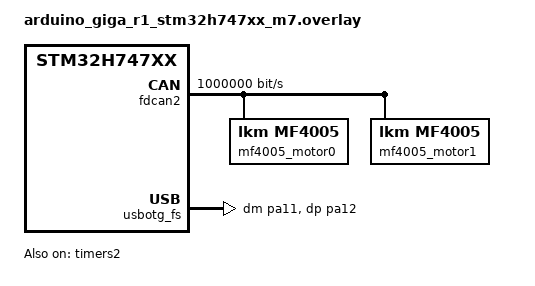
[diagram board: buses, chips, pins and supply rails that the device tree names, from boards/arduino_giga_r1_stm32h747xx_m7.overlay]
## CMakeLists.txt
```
cmake_minimum_required(VERSION 3.13.1)
find_package(Zephyr REQUIRED HINTS $ENV{ZEPHYR_BASE})
project(zephyr_motor_controller)

target_sources(app PRIVATE src/main.c)
target_sources(app PRIVATE src/motor_control_pipeline.c)
target_sources(app PRIVATE src/adrc_control_law.c)
target_sources(app PRIVATE src/pid_control_law.c)
```

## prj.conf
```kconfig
CONFIG_PRINTK=y
CONFIG_SERIAL=y
CONFIG_CBPRINTF_FP_SUPPORT=y

CONFIG_SHELL=y
CONFIG_SHELL_HISTORY=y
CONFIG_SHELL_VT100_COLORS=y
CONFIG_COUNTER=y

CONFIG_SYSTEM_WORKQUEUE_STACK_SIZE=8192
CONFIG_SYSTEM_WORKQUEUE_PRIORITY=-4

CONFIG_CAN=y
CONFIG_LKMOTOR_MF4005_DRIVER=y
CONFIG_MF4005_DRIVER_SHELL=y
CONFIG_KERNEL_BIN_NAME="motor_control_playground"
```

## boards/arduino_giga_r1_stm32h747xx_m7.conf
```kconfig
# Copyright (c) 2024 Felipe Neves
# SPDX-License-Identifier: Apache-2.0

CONFIG_USB_DEVICE_STACK=y
CONFIG_USB_DEVICE_INITIALIZE_AT_BOOT=y
CONFIG_USB_WORKQUEUE_STACK_SIZE=16384
CONFIG_MAIN_STACK_SIZE=8912
```

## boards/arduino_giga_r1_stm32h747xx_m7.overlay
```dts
/*
 * Copyright (c) 2024 Felipe Neves
 *
 * SPDX-License-Identifier: Apache-2.0
 */

/ {
	chosen {
		zephyr,console = &cdc_acm_uart0;
		zephyr,shell-uart = &cdc_acm_uart0;
		zephyr,cdc-acm-uart0 = &cdc_acm_uart0;
	};
};

&fdcan2 {
	bus-speed = <1000000>;
	status = "okay";

	#address-cells = <1>;
	#size-cells = <0>;	
	mf4005_motor0: mf4005_motor@141 {
		compatible = "lkm,mf4005";
		reg = <0x141>;
		max-current-ma = <240>;
		encoder-resolution-bits = <16>;
		max-speed-dps = <12000>;
		status = "okay";
	};

	mf4005_motor1: mf4005_motor@142 {
		compatible = "lkm,mf4005";
		reg = <0x142>;
		max-current-ma = <240>;
		encoder-resolution-bits = <16>;
		max-speed-dps = <12000>;
		status = "okay";
	};
};

zephyr_udc0: &usbotg_fs {
	pinctrl-0 = <&usb_otg_fs_dm_pa11 &usb_otg_fs_dp_pa12>;
	pinctrl-names = "default";
	status = "okay";

	cdc_acm_uart0: cdc_acm_uart0 {
		compatible = "zephyr,cdc-acm-uart";
	};
};

&cdc_acm_uart0 {
	status = "okay";
};

&timers2 {
	st,prescaler = <1>;
	status = "okay";

	counter {
		status = "okay";
	};
};
```

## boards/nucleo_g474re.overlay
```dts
/*
 * Copyright (c) 2024 Felipe Neves
 *
 * SPDX-License-Identifier: Apache-2.0
 */

&fdcan1 {
	pinctrl-0 = <&fdcan1_rx_pa11 &fdcan1_tx_pa12>;
	pinctrl-names = "default";
	status = "okay";
	bus-speed = <1000000>;

	#address-cells = <1>;
	#size-cells = <0>;	
	mf4005_motor0: mf4005_motor@141 {
		compatible = "lkm,mf4005";
		reg = <0x141>;
		max-current-ma = <240>;
		encoder-resolution-bits = <16>;
		max-speed-dps = <12000>;
		status = "okay";
	};

	mf4005_motor1: mf4005_motor@142 {
		compatible = "lkm,mf4005";
		reg = <0x142>;
		max-current-ma = <240>;
		encoder-resolution-bits = <16>;
		max-speed-dps = <12000>;
		status = "okay";
	};
};

&timers2 {
	st,prescaler = <1>;
	status = "okay";

	counter {
		status = "okay";
	};
};
```

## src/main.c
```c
/*
 * Copyright (c) 2024 Felipe Neves
 *
 * SPDX-License-Identifier: Apache-2.0
 */
#include <zephyr/kernel.h>
#include <zephyr/device.h>
#include <zephyr/shell/shell.h>
#include <stdlib.h>

#include "control_law.h"
#include "adrc_control_law.h"
#include "pid_control_law.h"
#include "motor_control_pipeline.h"

static const struct device * motor_1 = DEVICE_DT_GET(DT_NODELABEL(mf4005_motor0));
static struct motor_control_pipeline control_1;
static struct adrc_control_law motor_adrc_1;
static struct pid_control_law motor_pid_1;

int main(void)
{
	pid_control_law_tune(&motor_pid_1, 1.0f, 0.0f, 0.0f, 36000);
	adrc_control_law_tune(&motor_adrc_1, 0.0005f, 300.0f, 1.0f, 10.0f, 0.001f);
	motor_control_pipeline_add_hw(&control_1, motor_1);
	motor_control_pipeline_add_control(&control_1, get_adrc_control_law_interface(&motor_adrc_1));
	motor_control_pipeline_register(&control_1, 1);
	motor_control_pipeline_set_position(&control_1, 90);

	return 0;
}

static int motor_set_ref(const struct shell *shell, size_t argc, char **argv)
{
	if (argc != 2) {
		return -EINVAL;
	}

	return motor_control_pipeline_set_position(&control_1, (strtof(argv[1], NULL)));
}

static int motor_gen_ramp(const struct shell *shell, size_t argc, char **argv)
{
	if (argc != 3) {
		return -EINVAL;
	}

	float start = strtof(argv[1], NULL);
	float end = strtof(argv[2], NULL);
	float current = start;
	float steps = (end - start) / 16.0f;

	for(; current < end; current += steps) {
		motor_control_pipeline_set_position(&control_1, current);
		k_sleep(K_MSEC(250));
	}

	return 0;

}

static int motor_change_control(const struct shell *shell, size_t argc, char **argv)
{
	if (argc != 2) {
		return -EINVAL;
	}

	long option = strtol(argv[1], NULL, 10);

	if(!option) {
		motor_control_pipeline_add_control(&control_1, get_pid_control_law_interface(&motor_pid_1));
	} else {
		motor_control_pipeline_add_control(&control_1, get_adrc_control_law_interface(&motor_adrc_1));
	}

	return 0;
}

static int motor_set_gains_pid(const struct shell *shell, size_t argc, char **argv)
{
	if (argc != 5) {
		return -EINVAL;
	}

	pid_control_law_tune(&motor_pid_1,
						(strtof(argv[1], NULL)),
						(strtof(argv[2], NULL)),
						(strtof(argv[3], NULL)),
						(strtof(argv[4], NULL)));

	return 0;

}

static int motor_set_gains_adrc(const struct shell *shell, size_t argc, char **argv)
{
	if (argc != 6) {
		return -EINVAL;
	}

	adrc_control_law_tune(&motor_adrc_1,
						(strtof(argv[1], NULL)),
						(strtof(argv[2], NULL)),
						(strtof(argv[3], NULL)),
						(strtof(argv[4], NULL)),
						(strtof(argv[5], NULL)));

	return 0;
}

SHELL_STATIC_SUBCMD_SET_CREATE(
	motor_control,
	SHELL_CMD(generate_test_ramp, NULL, "Generate an up and down ramp of 5 seconds", motor_gen_ramp),
	SHELL_CMD(set_reference, NULL, "Set velocity reference in RPM", motor_set_ref),
	SHELL_CMD(change_control_algo, NULL, "0 - PID, 1 - ADRC", motor_change_control),
	SHELL_CMD(set_gains_pid, NULL, "Set velocity PID KP and KI", motor_set_gains_pid),
	SHELL_CMD(set_gains_adrc, NULL, "Set velocity ADRC Gains", motor_set_gains_adrc),
	SHELL_SUBCMD_SET_END
	);

SHELL_CMD_REGISTER(zephyr_motor_control, &motor_control, "Zephyr RTOS Motor control commands", NULL);
```

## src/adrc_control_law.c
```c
/*
 * Copyright (c) 2024 Felipe Neves
 *
 * SPDX-License-Identifier: Apache-2.0
 */

#include "adrc_control_law.h"

static int reset (struct siso_control_law * self)
{
    struct adrc_control_law *al =
        CL_CONTAINER_OF(self, struct adrc_control_law, interface);

    al->interface.reference = 0.0f;
    al->interface.measurement = 0.0f;
    al->zhat[0] = 0.0f;
    al->zhat[1] = 0.0f;
    al->zhat[2] = 0.0f;
    al->u_prev = 0.0f;

    return 0;
}

static int set (struct siso_control_law * self, float reference, float measurement)
{
    struct adrc_control_law *al =
        CL_CONTAINER_OF(self, struct adrc_control_law, interface);

    al->interface.reference = reference;
    al->interface.measurement = measurement;

    return 0;
}

static int update (struct siso_control_law * self, float dt, float *command)
{
    struct adrc_control_law *al =
        CL_CONTAINER_OF(self, struct adrc_control_law, interface);

    if(!command)
        return -EINVAL;

    float ref = al->interface.reference;
    float mes = al->interface.measurement;
    float zhat_1 = al->zhat[0];
    float zhat_2 = al->zhat[1];
    float zhat_3 = al->zhat[2];
    float l1 = al->l[0];
    float l2 = al->l[1];
    float l3 = al->l[2];
    float kp = al->kp;
    float kd = al->kd;
    float b0 = al->b0;
    float u_prev = al->u_prev;

    //First do the observer dynamics:
    float zhat_dot_1 = -l1 * zhat_1 + zhat_2 + l1 * mes;
    float zhat_dot_2 = -l2 * zhat_1 + zhat_3 + l2 * mes + b0 * u_prev;
    float zhat_dot_3 = -l3 * zhat_1 + l3 * mes;

    //Now update the estimated states:
    zhat_1 += zhat_dot_1 * dt;
    zhat_2 += zhat_dot_2 * dt;
    zhat_3 += zhat_dot_3 * dt;

    //and finally compute the control law:
    float u = (kp * (ref - zhat_1) - kd * zhat_2 - zhat_3) / b0;

    al->u_prev = u;
    al->zhat[0] = zhat_1;
    al->zhat[1] = zhat_2;
    al->zhat[2] = zhat_3;

    *command = u;

    return 0;
}

int adrc_control_law_tune(struct adrc_control_law *al, float dt, float wo, float b0, float kp, float kd)
{
    if(!al)
        return -EINVAL;

    al->interface.reset = reset;
    al->interface.set = set;
    al->interface.update = update;
    al->b0 = b0;
    al->kp = kp;
    al->kd = kd;

    //Compute discrete time observer gains:
    float z_eso = exp(-wo * dt);
    float one_minus_zeso = (1 - z_eso);

    al->l[2] = 1 - (z_eso * z_eso * z_eso);
    al->l[1] = (3.0f /(2 * dt)) * (one_minus_zeso * one_minus_zeso) * (1 + z_eso);
    al->l[0] = (1 / ( dt * dt)) * (one_minus_zeso * one_minus_zeso * one_minus_zeso * one_minus_zeso);

    return (control_law_reset(&al->interface));
}
```

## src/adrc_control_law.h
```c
/*
 * Copyright (c) 2024 Felipe Neves
 *
 * SPDX-License-Identifier: Apache-2.0
 */

#ifndef __ADRC_CONTROL_LAW_H
#define __ADRC_CONTROL_LAW_H

#include "control_law.h"

struct adrc_control_law {
    struct siso_control_law interface;
    float b0;
    float kp;
    float kd;
    float l[3];
    float zhat[3];
    float u_prev;
};

static inline struct siso_control_law * get_adrc_control_law_interface(struct adrc_control_law *al)
{
    if(al) {
        return &al->interface;
    }

    return NULL;
}

int adrc_control_law_tune(struct adrc_control_law *al, float dt, float wo, float b0, float kp, float kd);

#endif
```

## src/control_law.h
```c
/*
 * Copyright (c) 2024 Felipe Neves
 *
 * SPDX-License-Identifier: Apache-2.0
 */

#ifndef __CONTROL_LAW_H
#define __CONTROL_LAW_H

#include <stddef.h>
#include <errno.h>
#include <math.h>

//Abstract control Law class and methods:
struct siso_control_law {
    int (*reset)(struct siso_control_law * self);
    int (*set)(struct siso_control_law * self, float reference, float measurement);
    int (*update)(struct siso_control_law * self, float dt, float *command);

    float error;
    float measurement;
    float reference;
};

static inline int control_law_reset(struct siso_control_law *cl)
{
    if(!cl)
        return -EINVAL;

    if(cl->reset) {
        return cl->reset(cl);
    }

    return -ENOTSUP;
}

static inline int control_law_set(struct siso_control_law *cl, float reference, float measurement)
{
    if(!cl)
        return -EINVAL;

    if(cl->set) {
        return cl->set(cl, reference, measurement);
    }

    return -ENOTSUP;
}

static inline float control_law_update(struct siso_control_law *cl, float dt, float *command)
{
    if(!cl)
        return -EINVAL;

    if(cl->update) {
        return cl->update(cl, dt, command);
    }

    return -ENOTSUP;
}


//extract derived control law class from this base class:
#define CL_CONTAINER_OF(ptr, type, field)  ((type *)(((char *)(ptr)) - offsetof(type, field)))

#endif
```

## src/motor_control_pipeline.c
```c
#include <zephyr/kernel.h>
#include <zephyr/device.h>
#include <zephyr/init.h>
#include <zephyr/drivers/counter.h>
#include <zephyr/drivers/lkm_mf4005_motor.h>
#include "motor_control_pipeline.h"

#define CONTROL_PIPELINE_US_PERIOD (500)

static struct motor_control_pipeline* pipeline;
static float now_seconds = 0.0f;
static const struct device *timer_dev = DEVICE_DT_GET( DT_INST(0,st_stm32_counter));
static struct counter_alarm_cfg alarm_cfg;

static void motor_control_work_handler(struct k_work *work)
{
    uint32_t now_ticks;
    counter_get_value(timer_dev, &now_ticks);
    now_seconds = (float)(counter_ticks_to_us(timer_dev, now_ticks)) * 1e-6f;

    if(pipeline) {
        int64_t chan_value;
        float last_time = pipeline->last_time;
        float target_position = pipeline->target_position;
        float current_position;
        float control_effort;
        int ticks = pipeline->ticks;
        int sample_ratio = pipeline->sample_ratio;
        int err, werr;

        ticks++;
        if(ticks == sample_ratio) {
            ticks = 0;
            float dt = fabs(now_seconds - last_time);

            err = mf4005_motor_channel_get(pipeline->hw, MF4005_CHAN_POSITION_MILI_DEGREES, &chan_value);
            current_position = (float)chan_value * 0.001f;

            if(pipeline->position_cl) {
                control_law_set(pipeline->position_cl, target_position, current_position);
                control_law_update(pipeline->position_cl, dt, &control_effort);
            } else {
                control_effort = target_position;
            }

            werr = mf4005_motor_channel_set(pipeline->hw, MF4005_CHAN_SPEED_DEG_SECONDS, (int)control_effort);

            pipeline->control_effort = control_effort;
            pipeline->current_position = current_position;
            pipeline->last_time = now_seconds;
            pipeline->dt = dt;
            pipeline->reading_error = err;
            pipeline->writing_error = werr;
        }
        pipeline->ticks = ticks;
    }
}

K_WORK_DEFINE(motor_work, motor_control_work_handler);

static void timer_interrupt_fn(const struct device *counter_dev,
                            uint8_t chan_id, uint32_t ticks,
                            void *user_data)
{
    k_work_submit(&motor_work);
    counter_set_channel_alarm(timer_dev, 0, &alarm_cfg);
}

static int motor_control_pipeline_init_backend(void)
{
    counter_start(timer_dev);
    alarm_cfg.flags = 0;
    alarm_cfg.ticks = counter_us_to_ticks(timer_dev, CONTROL_PIPELINE_US_PERIOD);
    alarm_cfg.callback = timer_interrupt_fn;
    alarm_cfg.user_data = &alarm_cfg;
    counter_set_channel_alarm(timer_dev, 0, &alarm_cfg);

    return 0;
}

SYS_INIT(motor_control_pipeline_init_backend, POST_KERNEL, CONFIG_APPLICATION_INIT_PRIORITY);

int motor_control_pipeline_add_hw(struct motor_control_pipeline* cp, const struct device *hw)
{
    if(!cp || !hw)
        return -EINVAL;

    cp->hw = hw;

    return 0;
}

int motor_control_pipeline_add_control(struct motor_control_pipeline* cp, struct siso_control_law *cl)
{
    if(!cp)
        return -EINVAL;

    cp->position_cl = cl;

    return 0;
}

int motor_control_pipeline_remove_control(struct motor_control_pipeline* cp)
{
    if(!cp)
        return -EINVAL;

    cp = NULL;

    return 0;
}

int motor_control_pipeline_register(struct motor_control_pipeline* cp, int sample_ratio)
{
    if(!cp)
        return -EINVAL;

    if(!cp->hw)
        return -ENODEV;

    if(!sample_ratio)
        return -EINVAL;

    cp->sample_ratio = sample_ratio;
    cp->ticks = 0;
    cp->last_time = 0.0f;

    pipeline = cp;

    return 0;
}

int motor_control_pipeline_set_position(struct motor_control_pipeline* cp, float target_position)
{
    if(!cp)
        return -EINVAL;

    cp->target_position = target_position;

    return 0;
}
```

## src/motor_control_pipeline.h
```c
#ifndef __MOTOR_CONTROL_PIPELINE_H
#define __MOTOR_CONTROL_PIPELINE_H

#include <stdbool.h>
#include <zephyr/kernel.h>
#include <zephyr/device.h>
#include "control_law.h"

struct motor_control_pipeline {
    const struct device *hw;
    struct siso_control_law *position_cl;
    float  last_time;
    float dt;
    float target_position;
    float current_position;
    float control_effort;
    int ticks;
    int sample_ratio;
    int reading_error;
    int writing_error;
};

int motor_control_pipeline_add_hw(struct motor_control_pipeline* cp, const struct device *hw);
int motor_control_pipeline_add_control(struct motor_control_pipeline* cp, struct siso_control_law *cl);
int motor_control_pipeline_remove_control(struct motor_control_pipeline* cp);
int motor_control_pipeline_set_position(struct motor_control_pipeline* cp, float target_position);
int motor_control_pipeline_register(struct motor_control_pipeline* cp, int sample_ratio);

#endif
```
